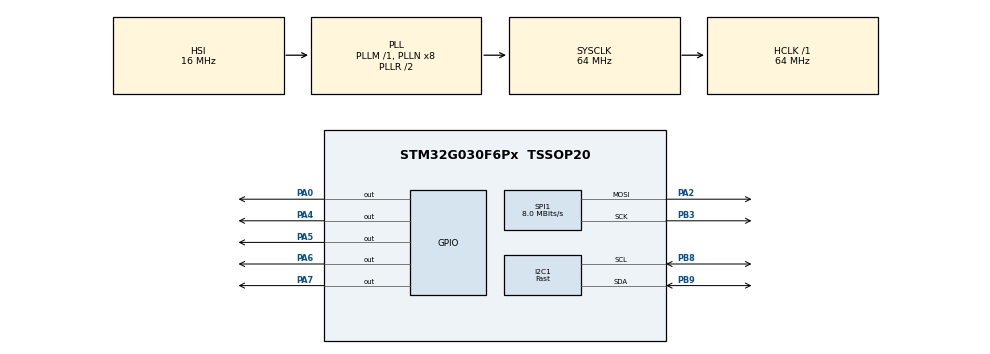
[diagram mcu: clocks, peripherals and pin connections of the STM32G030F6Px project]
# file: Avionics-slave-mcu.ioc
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Dma.I2C1_RX.1.Direction=DMA_PERIPH_TO_MEMORY
Dma.I2C1_RX.1.EventEnable=DISABLE
Dma.I2C1_RX.1.Instance=DMA1_Channel2
Dma.I2C1_RX.1.MemDataAlignment=DMA_MDATAALIGN_BYTE
Dma.I2C1_RX.1.MemInc=DMA_MINC_ENABLE
Dma.I2C1_RX.1.Mode=DMA_NORMAL
Dma.I2C1_RX.1.PeriphDataAlignment=DMA_PDATAALIGN_BYTE
Dma.I2C1_RX.1.PeriphInc=DMA_PINC_DISABLE
Dma.I2C1_RX.1.Polarity=HAL_DMAMUX_REQ_GEN_RISING
Dma.I2C1_RX.1.Priority=DMA_PRIORITY_LOW
Dma.I2C1_RX.1.RequestNumber=1
Dma.I2C1_RX.1.SignalID=NONE
Dma.I2C1_RX.1.SyncEnable=DISABLE
Dma.I2C1_RX.1.SyncPolarity=HAL_DMAMUX_SYNC_NO_EVENT
Dma.I2C1_RX.1.SyncRequestNumber=1
Dma.I2C1_RX.1.SyncSignalID=NONE
Dma.Request0=SPI1_TX
Dma.Request1=I2C1_RX
Dma.SPI1_TX.0.Direction=DMA_MEMORY_TO_PERIPH
Dma.SPI1_TX.0.EventEnable=DISABLE
Dma.SPI1_TX.0.Instance=DMA1_Channel1
Dma.SPI1_TX.0.MemDataAlignment=DMA_MDATAALIGN_BYTE
Dma.SPI1_TX.0.MemInc=DMA_MINC_ENABLE
Dma.SPI1_TX.0.Mode=DMA_NORMAL
Dma.SPI1_TX.0.PeriphDataAlignment=DMA_PDATAALIGN_BYTE
Dma.SPI1_TX.0.PeriphInc=DMA_PINC_DISABLE
Dma.SPI1_TX.0.Polarity=HAL_DMAMUX_REQ_GEN_RISING
Dma.SPI1_TX.0.Priority=DMA_PRIORITY_LOW
Dma.SPI1_TX.0.RequestNumber=1
Dma.SPI1_TX.0.SignalID=NONE
Dma.SPI1_TX.0.SyncEnable=DISABLE
Dma.SPI1_TX.0.SyncPolarity=HAL_DMAMUX_SYNC_NO_EVENT
Dma.SPI1_TX.0.SyncRequestNumber=1
Dma.SPI1_TX.0.SyncSignalID=NONE
I2C1.I2C_Speed_Mode=I2C_Fast
I2C1.OwnAddress=0x17
I2C1.Timing=0x00602173
Mcu.Family=STM32G0
Mcu.Name=STM32G030F6Px
Mcu.Package=TSSOP20
NVIC.DMA1_Channel1_IRQn=true\:0\:0\:false\:false\:true\:false\:true\:true
NVIC.DMA1_Channel2_3_IRQn=true\:0\:0\:false\:false\:true\:false\:true\:true
NVIC.I2C1_IRQn=true\:0\:0\:false\:false\:true\:true\:true\:true
NVIC.TIM3_IRQn=true\:0\:0\:false\:false\:true\:true\:true\:true
PA0.Signal=GPIO_Output
PA14-BOOT0__PA15.StandardMode=true
PA2.GPIO_Speed=GPIO_SPEED_FREQ_LOW
PA2.Mode=TX_Only_Simplex_Unidirect_Master
PA2.Signal=SPI1_MOSI
PA4.Signal=GPIO_Output
PA5.Signal=GPIO_Output
PA6.Signal=GPIO_Output
PA7.Signal=GPIO_Output
PB0__PB1__PB2__PA8.StandardMode=true
PB3.Mode=TX_Only_Simplex_Unidirect_Master
PB3.PinState=GPIO_PIN_RESET
PB3.Signal=SPI1_SCK
PB3__PB4__PB5__PB6.StandardMode=true
PB7__PB8.StandardMode=true
PB8.Mode=I2C
PB8.Signal=I2C1_SCL
PB9.Mode=I2C
PB9.Signal=I2C1_SDA
PC14-OSC32_IN\ (PC14)__PB9.StandardMode=true
ProjectManager.HeapSize=0x200
ProjectManager.StackSize=0x400
ProjectManager.TargetToolchain=STM32CubeIDE
RCC.ADCFreq_Value=64000000
RCC.AHBFreq_Value=64000000
RCC.CortexFreq_Value=64000000
RCC.EXTERNAL_CLOCK_VALUE=12288000
RCC.HCLKFreq_Value=64000000
RCC.HSE_VALUE=8000000
RCC.HSI_VALUE=16000000
RCC.LSE_VALUE=32768
RCC.SYSCLKFreq_VALUE=64000000
RCC.SYSCLKSource=RCC_SYSCLKSOURCE_PLLCLK
RCC.VCOOutputFreq_Value=128000000
SPI1.BaudRatePrescaler=SPI_BAUDRATEPRESCALER_8
SPI1.CalculateBaudRate=8.0 MBits/s
SPI1.Direction=SPI_DIRECTION_2LINES
SPI1.Mode=SPI_MODE_MASTER
SPI1.NSSPMode=SPI_NSS_PULSE_DISABLE
SPI1.VirtualType=VM_MASTER
TIM3.Period=1
TIM3.Prescaler=639
VP_TIM3_VS_ClockSourceINT.Mode=Internal
board=custom

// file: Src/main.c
/* USER CODE BEGIN Header */
/**
 ******************************************************************************
 * @file           : main.c
 * @brief          : Main program body
 ******************************************************************************
 * @attention
 *
 * Copyright (c) 2023 STMicroelectronics.
 * All rights reserved.
 *
 * This software is licensed under terms that can be found in the LICENSE file
 * in the root directory of this software component.
 * If no LICENSE file comes with this software, it is provided AS-IS.
 *
 ******************************************************************************
 */
/* USER CODE END Header */
#include "main.h"

/* USER CODE BEGIN Includes */
#include <string.h>
/* USER CODE END Includes */

/* USER CODE BEGIN PD */
#define SERVOS_NUM 4
#define I2C_BUFF 5
/* USER CODE END PD */

I2C_HandleTypeDef hi2c1;
DMA_HandleTypeDef hdma_i2c1_rx;

SPI_HandleTypeDef hspi1;
DMA_HandleTypeDef hdma_spi1_tx;

TIM_HandleTypeDef htim3;
/* USER CODE BEGIN PV */
buzz_t buzz;
servo_t servos[SERVOS_NUM];
uint8_t i2c_buffer[I2C_BUFF];
uint8_t i2c_complete_flag;
/* USER CODE END PV */

void SystemClock_Config(void);

static void MX_GPIO_Init(void);

static void MX_DMA_Init(void);

static void MX_I2C1_Init(void);

static void MX_SPI1_Init(void);

static void MX_TIM3_Init(void);

/* USER CODE BEGIN 0 */
void HAL_TIM_PeriodElapsedCallback(TIM_HandleTypeDef *htim) {
  if (htim->Instance == htim3.Instance) {
    buzzer_handler(&buzz);
    servo_handler(&servos[0]);
    servo_handler(&servos[1]);
    servo_handler(&servos[2]);
    servo_handler(&servos[3]);
  }
}

#define I2C_RST 0x0
#define I2C_RGB 0x1
#define I2C_BUZZ 0x2
#define I2C_SERVO 0x3

void HAL_I2C_SlaveRxCpltCallback(I2C_HandleTypeDef *hi2c) {
  switch (i2c_buffer[0]) {
    case I2C_RST:
      NVIC_SystemReset();
    case I2C_RGB:
      ws2812_set(&hspi1, i2c_buffer[1], i2c_buffer[3], i2c_buffer[3], 1);
      break;
    case I2C_BUZZ:
      buzzer_tone(&buzz, 4000, ((uint32_t) i2c_buffer[1] << 24) | ((uint32_t) i2c_buffer[2] << 16) |
                               ((uint32_t) i2c_buffer[3] << 8) | ((uint32_t) i2c_buffer[4]));
      break;
    case I2C_SERVO:
      servo_set(&servos[i2c_buffer[1] % SERVOS_NUM], (i2c_buffer[2] ? 1 : -1) * (int16_t) i2c_buffer[3]);
      break;
    default:
      break;
  }
  if (hi2c->Instance == hi2c1.Instance)
    i2c_complete_flag = 1;
}

void HAL_I2C_AddrCallback(I2C_HandleTypeDef *hi2c, uint8_t TransferDirection, uint16_t AddrMatchCode) {
  if (TransferDirection == 0)
    HAL_I2C_Slave_Seq_Receive_IT(hi2c, i2c_buffer, I2C_BUFF, I2C_FIRST_AND_LAST_FRAME);
}
/* USER CODE END 0 */

int main(void) {

  /* MCU Configuration--------------------------------------------------------*/

  /* Reset of all peripherals, Initializes the Flash interface and the Systick. */
  HAL_Init();

  /* Configure the system clock */
  SystemClock_Config();

  /* Initialize all configured peripherals */
  MX_GPIO_Init();
  MX_DMA_Init();
  MX_I2C1_Init();
  MX_SPI1_Init();
  MX_TIM3_Init();
  /* USER CODE BEGIN 2 */
  i2c_complete_flag = 1;
  HAL_I2C_EnableListen_IT(&hi2c1);

  buzz.port = GPIOA;
  buzz.pin = GPIO_PIN_0;
  buzz.enabled = 0;
  buzz.inter_div = 1E5;

  servos[0].port = GPIOA;
  servos[0].pin = GPIO_PIN_4;
  servos[0].inter_div = 1E5;
  servos[0].enabled = 0;

  servos[1].port = GPIOA;
  servos[1].pin = GPIO_PIN_5;
  servos[1].inter_div = 1E5;
  servos[1].enabled = 0;

  servos[2].port = GPIOA;
  servos[2].pin = GPIO_PIN_6;
  servos[2].inter_div = 1E5;
  servos[2].enabled = 0;

  servos[3].port = GPIOA;
  servos[3].pin = GPIO_PIN_7;
  servos[3].inter_div = 1E5;
  servos[3].enabled = 0;

  HAL_TIM_Base_Start_IT(&htim3);
  /* USER CODE END 2 */

  /* Infinite loop */
  /* USER CODE BEGIN WHILE */
  static uint8_t state = 0;
  static uint8_t r = 0, g = 0, b = 0;

  HAL_Delay(1000);
  buzzer_enable(&buzz);
  for (size_t i = 0; i < 4; i++) {
    buzzer_tone(&buzz, 4000, 50);
    HAL_Delay(100);
  }

  while (1) {
    if (i2c_complete_flag) {
      HAL_I2C_EnableListen_IT(&hi2c1);
      i2c_complete_flag = 0;
    }

    switch (state) {
      case 0:
        r++;
        if (r == WS2812_LIM) {
          state = 1;
        }
        break;
      case 1:
        g++;
        if (g == WS2812_LIM) {
          state = 2;
        }
        break;
      case 2:
        r--;
        if (r == 0) {
          state = 4;
        }
        break;
      case 4:
        b++;
        if (b == WS2812_LIM) {
          state = 5;
        }
        break;
      case 5:
        g--;
        if (g == 0) {
          state = 6;
        }
        break;
      case 6:
        r++;
        if (r == WS2812_LIM) {
          state = 7;
        }
        break;
      case 7:
        b--;
        if (b == 0) {
          state = 1;
        }
        break;
      default:
        state = 0;
        break;
    }
    /* USER CODE END WHILE */

    /* USER CODE BEGIN 3 */
    ws2812_set(&hspi1, r, g, b, 1);
    HAL_Delay(20);
  }
  /* USER CODE END 3 */
}

void SystemClock_Config(void) {
  RCC_OscInitTypeDef RCC_OscInitStruct = {0};
  RCC_ClkInitTypeDef RCC_ClkInitStruct = {0};

  /** Configure the main internal regulator output voltage
   */
  HAL_PWREx_ControlVoltageScaling(PWR_REGULATOR_VOLTAGE_SCALE1);

  /** Initializes the RCC Oscillators according to the specified parameters
   * in the RCC_OscInitTypeDef structure.
   */
  RCC_OscInitStruct.OscillatorType = RCC_OSCILLATORTYPE_HSI;
  RCC_OscInitStruct.HSIState = RCC_HSI_ON;
  RCC_OscInitStruct.HSIDiv = RCC_HSI_DIV1;
  RCC_OscInitStruct.HSICalibrationValue = RCC_HSICALIBRATION_DEFAULT;
  RCC_OscInitStruct.PLL.PLLState = RCC_PLL_ON;
  RCC_OscInitStruct.PLL.PLLSource = RCC_PLLSOURCE_HSI;
  RCC_OscInitStruct.PLL.PLLM = RCC_PLLM_DIV1;
  RCC_OscInitStruct.PLL.PLLN = 8;
  RCC_OscInitStruct.PLL.PLLP = RCC_PLLP_DIV2;
  RCC_OscInitStruct.PLL.PLLR = RCC_PLLR_DIV2;
  if (HAL_RCC_OscConfig(&RCC_OscInitStruct) != HAL_OK) {
    Error_Handler();
  }

  /** Initializes the CPU, AHB and APB buses clocks
   */
  RCC_ClkInitStruct.ClockType = RCC_CLOCKTYPE_HCLK | RCC_CLOCKTYPE_SYSCLK | RCC_CLOCKTYPE_PCLK1;
  RCC_ClkInitStruct.SYSCLKSource = RCC_SYSCLKSOURCE_PLLCLK;
  RCC_ClkInitStruct.AHBCLKDivider = RCC_SYSCLK_DIV1;
  RCC_ClkInitStruct.APB1CLKDivider = RCC_HCLK_DIV1;

  if (HAL_RCC_ClockConfig(&RCC_ClkInitStruct, FLASH_LATENCY_2) != HAL_OK) {
    Error_Handler();
  }
}

static void MX_I2C1_Init(void) {

  hi2c1.Instance = I2C1;
  hi2c1.Init.Timing = 0x00602173;
  hi2c1.Init.OwnAddress1 = 46;
  hi2c1.Init.AddressingMode = I2C_ADDRESSINGMODE_7BIT;
  hi2c1.Init.DualAddressMode = I2C_DUALADDRESS_DISABLE;
  hi2c1.Init.OwnAddress2 = 0;
  hi2c1.Init.OwnAddress2Masks = I2C_OA2_NOMASK;
  hi2c1.Init.GeneralCallMode = I2C_GENERALCALL_DISABLE;
  hi2c1.Init.NoStretchMode = I2C_NOSTRETCH_DISABLE;
  if (HAL_I2C_Init(&hi2c1) != HAL_OK) {
    Error_Handler();
  }

  /** Configure Analogue filter
   */
  if (HAL_I2CEx_ConfigAnalogFilter(&hi2c1, I2C_ANALOGFILTER_ENABLE) != HAL_OK) {
    Error_Handler();
  }

  /** Configure Digital filter
   */
  if (HAL_I2CEx_ConfigDigitalFilter(&hi2c1, 0) != HAL_OK) {
    Error_Handler();
  }
}

static void MX_SPI1_Init(void) {

  /* SPI1 parameter configuration*/
  hspi1.Instance = SPI1;
  hspi1.Init.Mode = SPI_MODE_MASTER;
  hspi1.Init.Direction = SPI_DIRECTION_2LINES;
  hspi1.Init.DataSize = SPI_DATASIZE_8BIT;
  hspi1.Init.CLKPolarity = SPI_POLARITY_LOW;
  hspi1.Init.CLKPhase = SPI_PHASE_1EDGE;
  hspi1.Init.NSS = SPI_NSS_SOFT;
  hspi1.Init.BaudRatePrescaler = SPI_BAUDRATEPRESCALER_8;
  hspi1.Init.FirstBit = SPI_FIRSTBIT_MSB;
  hspi1.Init.TIMode = SPI_TIMODE_DISABLE;
  hspi1.Init.CRCCalculation = SPI_CRCCALCULATION_DISABLE;
  hspi1.Init.CRCPolynomial = 7;
  hspi1.Init.CRCLength = SPI_CRC_LENGTH_DATASIZE;
  hspi1.Init.NSSPMode = SPI_NSS_PULSE_DISABLE;
  if (HAL_SPI_Init(&hspi1) != HAL_OK) {
    Error_Handler();
  }
}

static void MX_TIM3_Init(void) {

  TIM_ClockConfigTypeDef sClockSourceConfig = {0};
  TIM_MasterConfigTypeDef sMasterConfig = {0};

  htim3.Instance = TIM3;
  htim3.Init.Prescaler = 639;
  htim3.Init.CounterMode = TIM_COUNTERMODE_UP;
  htim3.Init.Period = 1;
  htim3.Init.ClockDivision = TIM_CLOCKDIVISION_DIV1;
  htim3.Init.AutoReloadPreload = TIM_AUTORELOAD_PRELOAD_DISABLE;
  if (HAL_TIM_Base_Init(&htim3) != HAL_OK) {
    Error_Handler();
  }
  sClockSourceConfig.ClockSource = TIM_CLOCKSOURCE_INTERNAL;
  if (HAL_TIM_ConfigClockSource(&htim3, &sClockSourceConfig) != HAL_OK) {
    Error_Handler();
  }
  sMasterConfig.MasterOutputTrigger = TIM_TRGO_RESET;
  sMasterConfig.MasterSlaveMode = TIM_MASTERSLAVEMODE_DISABLE;
  if (HAL_TIMEx_MasterConfigSynchronization(&htim3, &sMasterConfig) != HAL_OK) {
    Error_Handler();
  }
}

static void MX_DMA_Init(void) {
  /* DMA controller clock enable */
  __HAL_RCC_DMA1_CLK_ENABLE();

  /* DMA interrupt init */
  /* DMA1_Channel1_IRQn interrupt configuration */
  HAL_NVIC_SetPriority(DMA1_Channel1_IRQn, 0, 0);
  HAL_NVIC_EnableIRQ(DMA1_Channel1_IRQn);
  /* DMA1_Channel2_3_IRQn interrupt configuration */
  HAL_NVIC_SetPriority(DMA1_Channel2_3_IRQn, 0, 0);
  HAL_NVIC_EnableIRQ(DMA1_Channel2_3_IRQn);
}

static void MX_GPIO_Init(void) {
  GPIO_InitTypeDef GPIO_InitStruct = {0};

  /* GPIO Ports Clock Enable */
  __HAL_RCC_GPIOB_CLK_ENABLE();
  __HAL_RCC_GPIOA_CLK_ENABLE();

  /*Configure GPIO pin Output Level */
  HAL_GPIO_WritePin(GPIOA, GPIO_PIN_0 | GPIO_PIN_4 | GPIO_PIN_5 | GPIO_PIN_6 | GPIO_PIN_7, GPIO_PIN_RESET);

  /*Configure GPIO pins : PA0 PA4 PA5 PA6
                           PA7 */
  GPIO_InitStruct.Pin = GPIO_PIN_0 | GPIO_PIN_4 | GPIO_PIN_5 | GPIO_PIN_6 | GPIO_PIN_7;
  GPIO_InitStruct.Mode = GPIO_MODE_OUTPUT_PP;
  GPIO_InitStruct.Pull = GPIO_NOPULL;
  GPIO_InitStruct.Speed = GPIO_SPEED_FREQ_LOW;
  HAL_GPIO_Init(GPIOA, &GPIO_InitStruct);
}

void Error_Handler(void) {
  __disable_irq();
  while (1) {
  }
}
